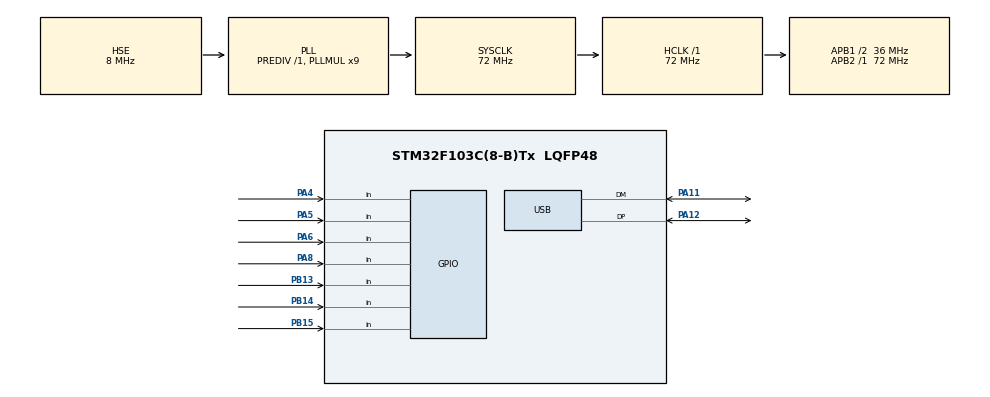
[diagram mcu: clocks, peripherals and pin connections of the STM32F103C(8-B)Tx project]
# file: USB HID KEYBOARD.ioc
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Mcu.Family=STM32F1
Mcu.Name=STM32F103C(8-B)Tx
Mcu.Package=LQFP48
NVIC.PriorityGroup=NVIC_PRIORITYGROUP_4
NVIC.USB_LP_CAN1_RX0_IRQn=true\:0\:0\:false\:false\:true
PA11.Mode=Device
PA11.Signal=USB_DM
PA12.Mode=Device
PA12.Signal=USB_DP
PA13.Mode=Serial_Wire
PA13.Signal=SYS_JTMS-SWDIO
PA14.Mode=Serial_Wire
PA14.Signal=SYS_JTCK-SWCLK
PA4.GPIO_PuPd=GPIO_PULLUP
PA4.Signal=GPIO_Input
PA5.GPIO_PuPd=GPIO_PULLUP
PA5.Signal=GPIO_Input
PA6.GPIO_PuPd=GPIO_PULLUP
PA6.Signal=GPIO_Input
PA8.GPIO_PuPd=GPIO_PULLUP
PA8.Signal=GPIO_Input
PB13.GPIO_PuPd=GPIO_PULLUP
PB13.Signal=GPIO_Input
PB14.GPIO_PuPd=GPIO_PULLUP
PB14.Signal=GPIO_Input
PB15.GPIO_PuPd=GPIO_PULLUP
PB15.Signal=GPIO_Input
PD0-OSC_IN.Mode=HSE-External-Oscillator
PD0-OSC_IN.Signal=RCC_OSC_IN
PD1-OSC_OUT.Mode=HSE-External-Oscillator
PD1-OSC_OUT.Signal=RCC_OSC_OUT
ProjectManager.HeapSize=0x200
ProjectManager.StackSize=0x400
ProjectManager.TargetToolchain=MDK-ARM V5
RCC.AHBFreq_Value=72000000
RCC.APB1CLKDivider=RCC_HCLK_DIV2
RCC.APB1Freq_Value=36000000
RCC.APB1TimFreq_Value=72000000
RCC.APB2Freq_Value=72000000
RCC.APB2TimFreq_Value=72000000
RCC.HCLKFreq_Value=72000000
RCC.PLLMUL=RCC_PLL_MUL9
RCC.SYSCLKFreq_VALUE=72000000
RCC.SYSCLKSource=RCC_SYSCLKSOURCE_PLLCLK
RCC.USBFreq_Value=48000000
RCC.USBPrescaler=RCC_USBCLKSOURCE_PLL_DIV1_5
USB.ep0_mps=DEP0CTL_MPS_64
USB_DEVICE.CLASS_NAME_FS=HID
USB_DEVICE.PRODUCT_STRING_HID_FS=MinhHa Group
USB_DEVICE.USBD_MAX_NUM_CONFIGURATION-HID_FS=64
USB_DEVICE.USBD_MAX_NUM_INTERFACES-HID_FS=64
USB_DEVICE.VirtualModeFS=Hid_FS
VP_USB_DEVICE_VS_USB_DEVICE_HID_FS.Mode=HID_FS
board=USB HID KEYBOARD

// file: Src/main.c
/**
  ******************************************************************************
  * File Name          : main.c
  * Description        : Main program body
  ******************************************************************************
  *
  * Copyright (c) 2017 STMicroelectronics International N.V.
  * All rights reserved.
  *
  * Redistribution and use in source and binary forms, with or without
  * modification, are permitted, provided that the following conditions are met:
  *
  * 1. Redistribution of source code must retain the above copyright notice,
  *    this list of conditions and the following disclaimer.
  * 2. Redistributions in binary form must reproduce the above copyright notice,
  *    this list of conditions and the following disclaimer in the documentation
  *    and/or other materials provided with the distribution.
  * 3. Neither the name of STMicroelectronics nor the names of other
  *    contributors to this software may be used to endorse or promote products
  *    derived from this software without specific written permission.
  * 4. This software, including modifications and/or derivative works of this
  *    software, must execute solely and exclusively on microcontroller or
  *    microprocessor devices manufactured by or for STMicroelectronics.
  * 5. Redistribution and use of this software other than as permitted under
  *    this license is void and will automatically terminate your rights under
  *    this license.
  *
  * THIS SOFTWARE IS PROVIDED BY STMICROELECTRONICS AND CONTRIBUTORS "AS IS"
  * AND ANY EXPRESS, IMPLIED OR STATUTORY WARRANTIES, INCLUDING, BUT NOT
  * LIMITED TO, THE IMPLIED WARRANTIES OF MERCHANTABILITY, FITNESS FOR A
  * PARTICULAR PURPOSE AND NON-INFRINGEMENT OF THIRD PARTY INTELLECTUAL PROPERTY
  * RIGHTS ARE DISCLAIMED TO THE FULLEST EXTENT PERMITTED BY LAW. IN NO EVENT
  * SHALL STMICROELECTRONICS OR CONTRIBUTORS BE LIABLE FOR ANY DIRECT, INDIRECT,
  * INCIDENTAL, SPECIAL, EXEMPLARY, OR CONSEQUENTIAL DAMAGES (INCLUDING, BUT NOT
  * LIMITED TO, PROCUREMENT OF SUBSTITUTE GOODS OR SERVICES; LOSS OF USE, DATA,
  * OR PROFITS; OR BUSINESS INTERRUPTION) HOWEVER CAUSED AND ON ANY THEORY OF
  * LIABILITY, WHETHER IN CONTRACT, STRICT LIABILITY, OR TORT (INCLUDING
  * NEGLIGENCE OR OTHERWISE) ARISING IN ANY WAY OUT OF THE USE OF THIS SOFTWARE,
  * EVEN IF ADVISED OF THE POSSIBILITY OF SUCH DAMAGE.
  *
  ******************************************************************************
  */
#include "main.h"
#include "stm32f1xx_hal.h"
#include "usb_device.h"
#include "gpio.h"

/* USER CODE BEGIN Includes */
#include "usbd_hid.h"
#include "key.h"
#define VOL_UP				0xE9
#define VOL_DOWN			0xEA
/* USER CODE END Includes */

/* USER CODE BEGIN PV */
/* Private variables ---------------------------------------------------------*/
uint8_t keyPressing = 0;
/* USER CODE END PV */

void SystemClock_Config(void);
void Error_Handler(void);

/* USER CODE BEGIN PFP */
/* Private function prototypes -----------------------------------------------*/

/* USER CODE END PFP */

int main(void)
{

  /* MCU Configuration----------------------------------------------------------*/

  /* Reset of all peripherals, Initializes the Flash interface and the Systick. */
  HAL_Init();

  /* Configure the system clock */
  SystemClock_Config();

  /* Initialize all configured peripherals */
  MX_GPIO_Init();
  MX_USB_DEVICE_Init();

  /* USER CODE BEGIN 2 */
  initKeyBoard();
  HAL_GPIO_WritePin(USB_CONTROL_GPIO_Port, USB_CONTROL_Pin, GPIO_PIN_RESET);
  /* USER CODE END 2 */

  /* Infinite loop */
  while (1)
  {

  /* USER CODE BEGIN 3 */

    if(!HAL_GPIO_ReadPin(BUTTON_GPIO_Port, BUTTON_Pin))
		{
			if(keyPressing == 0)
			{
				keyPausePlay();
				keyPressing = 1;
				HAL_Delay(30);
			}
    }
		else
		{
			keyPressing = 0;
		}
    if(numLeft > 0)
    {
      keyVolDec_New();
      numLeft --;
    }
    else if(numRight > 0)
    {
      keyVolUp_New();
      numRight --;
    }

	}
  /* USER CODE END 3 */

}

/** System Clock Configuration
*/
void SystemClock_Config(void)
{

  RCC_OscInitTypeDef RCC_OscInitStruct;
  RCC_ClkInitTypeDef RCC_ClkInitStruct;
  RCC_PeriphCLKInitTypeDef PeriphClkInit;

    /**Initializes the CPU, AHB and APB busses clocks
    */
  RCC_OscInitStruct.OscillatorType = RCC_OSCILLATORTYPE_HSE;
  RCC_OscInitStruct.HSEState = RCC_HSE_ON;
  RCC_OscInitStruct.HSEPredivValue = RCC_HSE_PREDIV_DIV1;
  RCC_OscInitStruct.HSIState = RCC_HSI_ON;
  RCC_OscInitStruct.PLL.PLLState = RCC_PLL_ON;
  RCC_OscInitStruct.PLL.PLLSource = RCC_PLLSOURCE_HSE;
  RCC_OscInitStruct.PLL.PLLMUL = RCC_PLL_MUL9;
  if (HAL_RCC_OscConfig(&RCC_OscInitStruct) != HAL_OK)
  {
    Error_Handler();
  }

    /**Initializes the CPU, AHB and APB busses clocks
    */
  RCC_ClkInitStruct.ClockType = RCC_CLOCKTYPE_HCLK|RCC_CLOCKTYPE_SYSCLK
                              |RCC_CLOCKTYPE_PCLK1|RCC_CLOCKTYPE_PCLK2;
  RCC_ClkInitStruct.SYSCLKSource = RCC_SYSCLKSOURCE_PLLCLK;
  RCC_ClkInitStruct.AHBCLKDivider = RCC_SYSCLK_DIV1;
  RCC_ClkInitStruct.APB1CLKDivider = RCC_HCLK_DIV2;
  RCC_ClkInitStruct.APB2CLKDivider = RCC_HCLK_DIV1;

  if (HAL_RCC_ClockConfig(&RCC_ClkInitStruct, FLASH_LATENCY_2) != HAL_OK)
  {
    Error_Handler();
  }

  PeriphClkInit.PeriphClockSelection = RCC_PERIPHCLK_USB;
  PeriphClkInit.UsbClockSelection = RCC_USBCLKSOURCE_PLL_DIV1_5;
  if (HAL_RCCEx_PeriphCLKConfig(&PeriphClkInit) != HAL_OK)
  {
    Error_Handler();
  }

    /**Configure the Systick interrupt time
    */
  HAL_SYSTICK_Config(HAL_RCC_GetHCLKFreq()/1000);

    /**Configure the Systick
    */
  HAL_SYSTICK_CLKSourceConfig(SYSTICK_CLKSOURCE_HCLK);

  /* SysTick_IRQn interrupt configuration */
  HAL_NVIC_SetPriority(SysTick_IRQn, 0, 0);
}

void Error_Handler(void)
{
  while(1)
  {
  }
}

/************************ (C) COPYRIGHT STMicroelectronics *****END OF FILE****/
